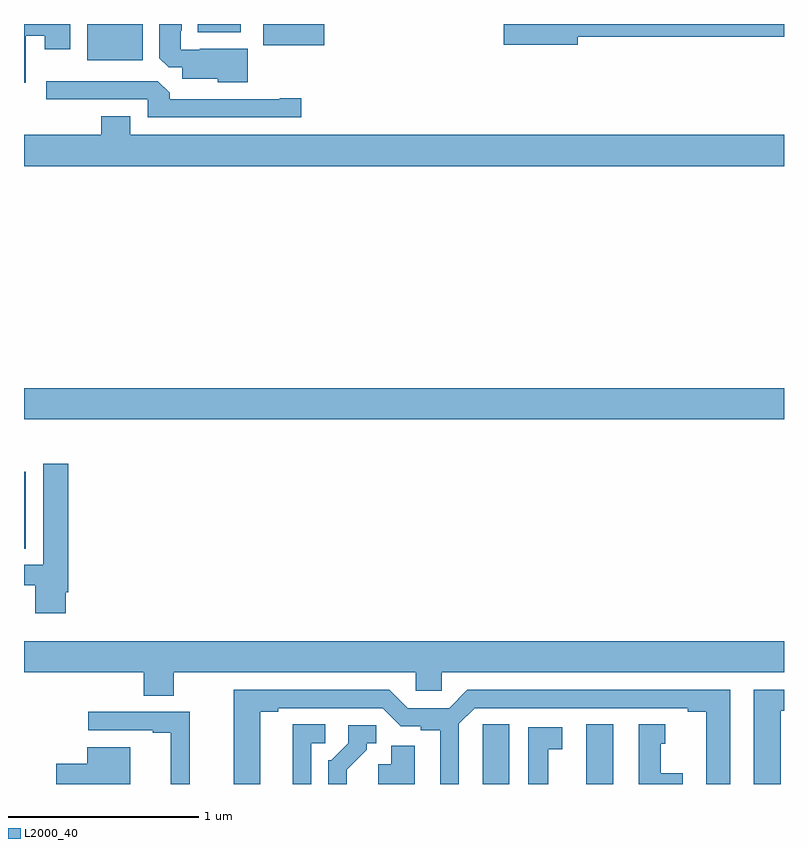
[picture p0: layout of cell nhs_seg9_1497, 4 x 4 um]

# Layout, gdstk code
import gdstk
lib = gdstk.Library(unit=1e-6, precision=1e-09)
def R(c, l, rs):  # rectangles x0, y0, x1, y1
    for r in rs: c.add(gdstk.rectangle(r[:2], r[2:], *l))
def P(c, l, *ps):  # polygons
    for p in ps: c.add(gdstk.Polygon(p, *l))
L2000_40 = (2000, 40)

nhs_seg9_1497 = lib.new_cell('nhs_seg9_1497')
R(nhs_seg9_1497, L2000_40, [(197.96,1194.5,198.1,1194.814), (195,1195.738,195.01,1196.143), (195,1196.42,199,1196.584), (195.332,1198.31,195.625,1198.5), (196.26,1198.388,196.58,1198.5), (195.914,1198.457,196.141,1198.5)])
P(nhs_seg9_1497, L2000_40, [(195.01,1198.439),(195.11,1198.439),(195.11,1198.368),(195.244,1198.368),(195.244,1198.5),(195,1198.5),(195,1198.191),(195.01,1198.191)],
  [(196.177,1198.369),(195.925,1198.369),(195.925,1198.365),(195.825,1198.365),(195.825,1198.465),(195.829,1198.465),(195.829,1198.5),(195.713,1198.5),(195.713,1198.321),(195.762,1198.272),(195.833,1198.272),(195.833,1198.211),(196.02,1198.211),(196.02,1198.193),(196.177,1198.193)],
  [(197.914,1198.432),(199,1198.432),(199,1198.5),(197.526,1198.5),(197.526,1198.39),(197.914,1198.39)],
  [(196.459,1198.109),(196.346,1198.109),(196.346,1198.104),(195.767,1198.104),(195.767,1198.138),(195.705,1198.2),(195.117,1198.2),(195.117,1198.104),(195.651,1198.104),(195.651,1198.008),(196.459,1198.008)],
  [(199,1197.916),(195.559,1197.916),(195.559,1198.015),(195.407,1198.015),(195.407,1197.916),(195,1197.916),(195,1197.752),(199,1197.752)],
  [(195.22,1195.51),(195.233,1195.51),(195.233,1196.185),(195.101,1196.185),(195.101,1195.653),(195,1195.653),(195,1195.545),(195.059,1195.545),(195.059,1195.398),(195.22,1195.398)],
  [(195.789,1195.088),(197.061,1195.088),(197.061,1194.99),(197.199,1194.99),(197.199,1195.088),(199,1195.088),(199,1195.252),(195,1195.252),(195,1195.088),(195.629,1195.088),(195.629,1194.964),(195.789,1194.964)],
  [(198.982,1194.885),(199,1194.885),(199,1194.996),(198.842,1194.996),(198.842,1194.5),(198.982,1194.5)],
  [(196.243,1194.88),(196.339,1194.88),(196.339,1194.9),(196.887,1194.9),(196.983,1194.804),(197.088,1194.804),(197.088,1194.784),(197.192,1194.784),(197.192,1194.5),(197.289,1194.5),(197.289,1194.816),(197.373,1194.9),(198.494,1194.9),(198.494,1194.88),(198.59,1194.88),(198.59,1194.5),(198.718,1194.5),(198.718,1194.996),(197.333,1194.996),(197.237,1194.9),(197.019,1194.9),(196.923,1194.996),(196.103,1194.996),(196.103,1194.5),(196.243,1194.5)],
  [(195.873,1194.879),(195.339,1194.879),(195.339,1194.783),(195.677,1194.783),(195.677,1194.771),(195.773,1194.771),(195.773,1194.5),(195.873,1194.5)],
  [(196.512,1194.714),(196.585,1194.714),(196.585,1194.815),(196.415,1194.815),(196.415,1194.5),(196.512,1194.5)],
  [(197.554,1194.815),(197.415,1194.815),(197.415,1194.707),(197.414,1194.707),(197.414,1194.5),(197.554,1194.5)],
  [(198.466,1194.556),(198.352,1194.556),(198.352,1194.711),(198.376,1194.711),(198.376,1194.814),(198.236,1194.814),(198.236,1194.5),(198.466,1194.5)],
  [(196.699,1194.574),(196.804,1194.679),(196.804,1194.714),(196.854,1194.714),(196.854,1194.81),(196.707,1194.81),(196.707,1194.714),(196.617,1194.624),(196.602,1194.624),(196.602,1194.5),(196.699,1194.5)],
  [(197.758,1194.682),(197.833,1194.682),(197.833,1194.798),(197.654,1194.798),(197.654,1194.5),(197.758,1194.5)],
  [(197.056,1194.702),(196.934,1194.702),(196.934,1194.604),(196.865,1194.604),(196.865,1194.5),(197.056,1194.5)],
  [(195.559,1194.694),(195.332,1194.694),(195.332,1194.607),(195.171,1194.607),(195.171,1194.5),(195.559,1194.5)])

lib.write_gds('nhs_seg9_1497.gds')
